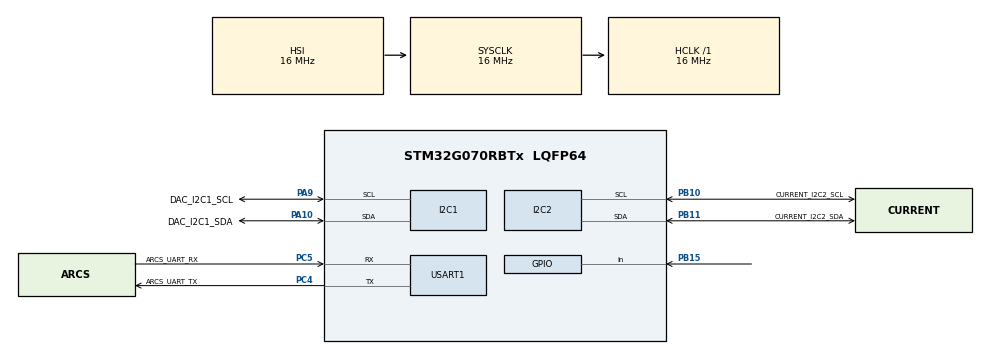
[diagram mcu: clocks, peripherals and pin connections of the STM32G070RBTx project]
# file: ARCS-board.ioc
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I2C1.Timing=0x00503D58
I2C2.Timing=0x00503D58
Mcu.Family=STM32G0
Mcu.Name=STM32G070RBTx
Mcu.Package=LQFP64
PA10.GPIO_Label=DAC_I2C1_SDA
PA10.GPIO_Pu=GPIO_PULLUP
PA10.Mode=I2C
PA10.Signal=I2C1_SDA
PA13.Mode=Serial_Wire
PA13.Signal=SYS_SWDIO
PA14-BOOT0.Mode=Serial_Wire
PA14-BOOT0.Signal=SYS_SWCLK
PA9.GPIO_Label=DAC_I2C1_SCL
PA9.GPIO_Pu=GPIO_PULLUP
PA9.Mode=I2C
PA9.Signal=I2C1_SCL
PB10.GPIO_Label=CURRENT_I2C2_SCL
PB10.GPIO_Pu=GPIO_NOPULL
PB10.Mode=I2C
PB10.Signal=I2C2_SCL
PB11.GPIO_Label=CURRENT_I2C2_SDA
PB11.GPIO_Pu=GPIO_NOPULL
PB11.Mode=I2C
PB11.Signal=I2C2_SDA
PB15.Signal=GPIO_Input
PC4.GPIO_Label=ARCS_UART_TX
PC4.Mode=Asynchronous
PC4.Signal=USART1_TX
PC5.GPIO_Label=ARCS_UART_RX
PC5.Mode=Asynchronous
PC5.Signal=USART1_RX
ProjectManager.HeapSize=0x200
ProjectManager.StackSize=0x400
ProjectManager.TargetToolchain=Makefile
RCC.AHBFreq_Value=16000000
RCC.CortexFreq_Value=16000000
RCC.EXTERNAL_CLOCK_VALUE=48000
RCC.HCLKFreq_Value=16000000
RCC.HSE_VALUE=8000000
RCC.HSI_VALUE=16000000
RCC.LSE_VALUE=32768
RCC.SYSCLKFreq_VALUE=16000000
RCC.VCOOutputFreq_Value=128000000
USART1.VirtualMode-Asynchronous=VM_ASYNC
board=custom

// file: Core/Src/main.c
/* USER CODE BEGIN Header */
/**
 ******************************************************************************
 * @file           : main.c
 * @brief          : Main program body
 ******************************************************************************
 * @attention
 *
 * Copyright (c) 2026 STMicroelectronics.
 * All rights reserved.
 *
 * This software is licensed under terms that can be found in the LICENSE file
 * in the root directory of this software component.
 * If no LICENSE file comes with this software, it is provided AS-IS.
 *
 ******************************************************************************
 */
/* USER CODE END Header */
#include "main.h"

/* USER CODE BEGIN Includes */
#include <stdio.h>

/* USER CODE END Includes */

I2C_HandleTypeDef hi2c1;
I2C_HandleTypeDef hi2c2;

UART_HandleTypeDef huart1;

void SystemClock_Config(void);
static void MX_GPIO_Init(void);
static void MX_USART1_UART_Init(void);
static void MX_I2C2_Init(void);
static void MX_I2C1_Init(void);

/* USER CODE BEGIN 0 */
// From https://sushihangover.github.io/arm-cortex-m-semihosting-with-qemu/
const int SYS_WRITEC = 0x03;
void printChar(char c) {
  asm volatile("mov r0, %0\n\t"
               "mov r1, %1\n\t"
               "bkpt 0xab"
               :
               : "r"(SYS_WRITEC), "r"(&c)
               : "r0", "r1", "memory");
}

const int SYS_WRITE0 = 0x04;
void printStr(char *str) {
  asm volatile("mov r0, %0\n\t"
               "mov r1, %1\n\t"
               "bkpt 0xab"
               :
               : "r"(SYS_WRITE0), "r"(str)
               : "r0", "r1", "memory");
}
/* USER CODE END 0 */

int main(void) {

  /* USER CODE BEGIN 1 */
  printStr("Hello World!\n");

  /* USER CODE END 1 */

  /* MCU Configuration--------------------------------------------------------*/

  /* Reset of all peripherals, Initializes the Flash interface and the Systick. */
  HAL_Init();

  /* Configure the system clock */
  SystemClock_Config();

  /* Initialize all configured peripherals */
  MX_GPIO_Init();
  MX_USART1_UART_Init();
  MX_I2C2_Init();
  MX_I2C1_Init();
  /* USER CODE BEGIN 2 */
  HAL_Delay(1000);

  printStr("Scanning i2c1...\n");
  HAL_StatusTypeDef status;
  for (int i = 0; i < 128; i++) {
    status = HAL_I2C_IsDeviceReady(&hi2c1, i << 1, 2, 10);
    if (status == HAL_OK) {
      char str1[20];
      sprintf(str1, "%d: ok\n", i);
      printStr(str1);
    }
  }
  printStr("Scanning i2c2...\n");
  for (int i = 0; i < 128; i++) {
    status = HAL_I2C_IsDeviceReady(&hi2c2, i << 1, 2, 10);
    if (status == HAL_OK) {
      char str1[20];
      sprintf(str1, "%d: ok\n", i);
      printStr(str1);
    }
  }
  printStr("Done scanning.\n");
  // Scanning i2c1...
  // 0: ok
  // 97: ok
  // Scanning i2c2...
  // 0: ok
  // 64: ok

  uint8_t data[0];
  uint8_t buf[5];

  HAL_I2C_Master_Transmit(&hi2c1, 0b11000011, data, 0, 100);

  HAL_I2C_Master_Receive(&hi2c1, 0b11000011, buf, 5, 100);

  char str[16];
  sprintf(str, "Recv: %d %d %d %d %d\n", buf[0], buf[1], buf[2], buf[3], buf[4]);
  printStr(str);
  // Recv: 192 128 0 8 0

  /* USER CODE END 2 */

  /* Infinite loop */
  /* USER CODE BEGIN WHILE */
  uint8_t data2[3] = {0b01000000, 0x00, 0x00};

  while (1) {
    /* USER CODE END WHILE */
    for (int v = 0; v < 4096; v += 4) {
      // data format: bit 0: don't touch, bit 1: higher 8 bits of v, bit 2: lower 4 bits of v left
      // padded
      data2[1] = (v >> 4) & 0xFF;
      data2[2] = (v & 0x0F) << 4;

      HAL_I2C_Master_Transmit(&hi2c1, 0b11000010, data2, 3, 100);
      HAL_Delay(10);
    }

  }
}

void SystemClock_Config(void) {
  RCC_OscInitTypeDef RCC_OscInitStruct = {0};
  RCC_ClkInitTypeDef RCC_ClkInitStruct = {0};

  /** Configure the main internal regulator output voltage
   */
  HAL_PWREx_ControlVoltageScaling(PWR_REGULATOR_VOLTAGE_SCALE1);

  /** Initializes the RCC Oscillators according to the specified parameters
   * in the RCC_OscInitTypeDef structure.
   */
  RCC_OscInitStruct.OscillatorType = RCC_OSCILLATORTYPE_HSI;
  RCC_OscInitStruct.HSIState = RCC_HSI_ON;
  RCC_OscInitStruct.HSIDiv = RCC_HSI_DIV1;
  RCC_OscInitStruct.HSICalibrationValue = RCC_HSICALIBRATION_DEFAULT;
  RCC_OscInitStruct.PLL.PLLState = RCC_PLL_NONE;
  if (HAL_RCC_OscConfig(&RCC_OscInitStruct) != HAL_OK) {
    Error_Handler();
  }

  /** Initializes the CPU, AHB and APB buses clocks
   */
  RCC_ClkInitStruct.ClockType = RCC_CLOCKTYPE_HCLK | RCC_CLOCKTYPE_SYSCLK | RCC_CLOCKTYPE_PCLK1;
  RCC_ClkInitStruct.SYSCLKSource = RCC_SYSCLKSOURCE_HSI;
  RCC_ClkInitStruct.AHBCLKDivider = RCC_SYSCLK_DIV1;
  RCC_ClkInitStruct.APB1CLKDivider = RCC_HCLK_DIV1;

  if (HAL_RCC_ClockConfig(&RCC_ClkInitStruct, FLASH_LATENCY_0) != HAL_OK) {
    Error_Handler();
  }
}

static void MX_I2C1_Init(void) {

  hi2c1.Instance = I2C1;
  hi2c1.Init.Timing = 0x00503D58;
  hi2c1.Init.OwnAddress1 = 0;
  hi2c1.Init.AddressingMode = I2C_ADDRESSINGMODE_7BIT;
  hi2c1.Init.DualAddressMode = I2C_DUALADDRESS_DISABLE;
  hi2c1.Init.OwnAddress2 = 0;
  hi2c1.Init.OwnAddress2Masks = I2C_OA2_NOMASK;
  hi2c1.Init.GeneralCallMode = I2C_GENERALCALL_DISABLE;
  hi2c1.Init.NoStretchMode = I2C_NOSTRETCH_DISABLE;
  if (HAL_I2C_Init(&hi2c1) != HAL_OK) {
    Error_Handler();
  }

  /** Configure Analogue filter
   */
  if (HAL_I2CEx_ConfigAnalogFilter(&hi2c1, I2C_ANALOGFILTER_ENABLE) != HAL_OK) {
    Error_Handler();
  }

  /** Configure Digital filter
   */
  if (HAL_I2CEx_ConfigDigitalFilter(&hi2c1, 0) != HAL_OK) {
    Error_Handler();
  }
}

static void MX_I2C2_Init(void) {

  hi2c2.Instance = I2C2;
  hi2c2.Init.Timing = 0x00503D58;
  hi2c2.Init.OwnAddress1 = 0;
  hi2c2.Init.AddressingMode = I2C_ADDRESSINGMODE_7BIT;
  hi2c2.Init.DualAddressMode = I2C_DUALADDRESS_DISABLE;
  hi2c2.Init.OwnAddress2 = 0;
  hi2c2.Init.OwnAddress2Masks = I2C_OA2_NOMASK;
  hi2c2.Init.GeneralCallMode = I2C_GENERALCALL_DISABLE;
  hi2c2.Init.NoStretchMode = I2C_NOSTRETCH_DISABLE;
  if (HAL_I2C_Init(&hi2c2) != HAL_OK) {
    Error_Handler();
  }

  /** Configure Analogue filter
   */
  if (HAL_I2CEx_ConfigAnalogFilter(&hi2c2, I2C_ANALOGFILTER_ENABLE) != HAL_OK) {
    Error_Handler();
  }

  /** Configure Digital filter
   */
  if (HAL_I2CEx_ConfigDigitalFilter(&hi2c2, 0) != HAL_OK) {
    Error_Handler();
  }
}

static void MX_USART1_UART_Init(void) {

  huart1.Instance = USART1;
  huart1.Init.BaudRate = 115200;
  huart1.Init.WordLength = UART_WORDLENGTH_8B;
  huart1.Init.StopBits = UART_STOPBITS_1;
  huart1.Init.Parity = UART_PARITY_NONE;
  huart1.Init.Mode = UART_MODE_TX_RX;
  huart1.Init.HwFlowCtl = UART_HWCONTROL_NONE;
  huart1.Init.OverSampling = UART_OVERSAMPLING_16;
  huart1.Init.OneBitSampling = UART_ONE_BIT_SAMPLE_DISABLE;
  huart1.Init.ClockPrescaler = UART_PRESCALER_DIV1;
  huart1.AdvancedInit.AdvFeatureInit = UART_ADVFEATURE_NO_INIT;
  if (HAL_UART_Init(&huart1) != HAL_OK) {
    Error_Handler();
  }
  if (HAL_UARTEx_SetTxFifoThreshold(&huart1, UART_TXFIFO_THRESHOLD_1_8) != HAL_OK) {
    Error_Handler();
  }
  if (HAL_UARTEx_SetRxFifoThreshold(&huart1, UART_RXFIFO_THRESHOLD_1_8) != HAL_OK) {
    Error_Handler();
  }
  if (HAL_UARTEx_DisableFifoMode(&huart1) != HAL_OK) {
    Error_Handler();
  }
}

static void MX_GPIO_Init(void) {
  GPIO_InitTypeDef GPIO_InitStruct = {0};

  /* GPIO Ports Clock Enable */
  __HAL_RCC_GPIOC_CLK_ENABLE();
  __HAL_RCC_GPIOB_CLK_ENABLE();
  __HAL_RCC_GPIOA_CLK_ENABLE();

  /*Configure GPIO pin : PB15 */
  GPIO_InitStruct.Pin = GPIO_PIN_15;
  GPIO_InitStruct.Mode = GPIO_MODE_INPUT;
  GPIO_InitStruct.Pull = GPIO_NOPULL;
  HAL_GPIO_Init(GPIOB, &GPIO_InitStruct);

}

void Error_Handler(void) {
  /* USER CODE BEGIN Error_Handler_Debug */
  /* User can add his own implementation to report the HAL error return state */
  __disable_irq();
  while (1) {
    printStr("Error_Handler: An error has occurred!\n");
  }
  /* USER CODE END Error_Handler_Debug */
}
#ifdef USE_FULL_ASSERT
/**
 * @brief  Reports the name of the source file and the source line number
 *         where the assert_param error has occurred.
 * @param  file: pointer to the source file name
 * @param  line: assert_param error line source number
 * @retval None
 */
void assert_failed(uint8_t *file, uint32_t line) {
  /* USER CODE BEGIN 6 */
  char str[100];
  sprintf(str, "Wrong parameters value: file %s on line %d\r\n", file, line);
  printStr(str);
  /* User can add his own implementation to report the file name and line
     number, ex: printf("Wrong parameters value: file %s on line %d\r\n", file,
     line) */
  /* USER CODE END 6 */
}
#endif /* USE_FULL_ASSERT */
